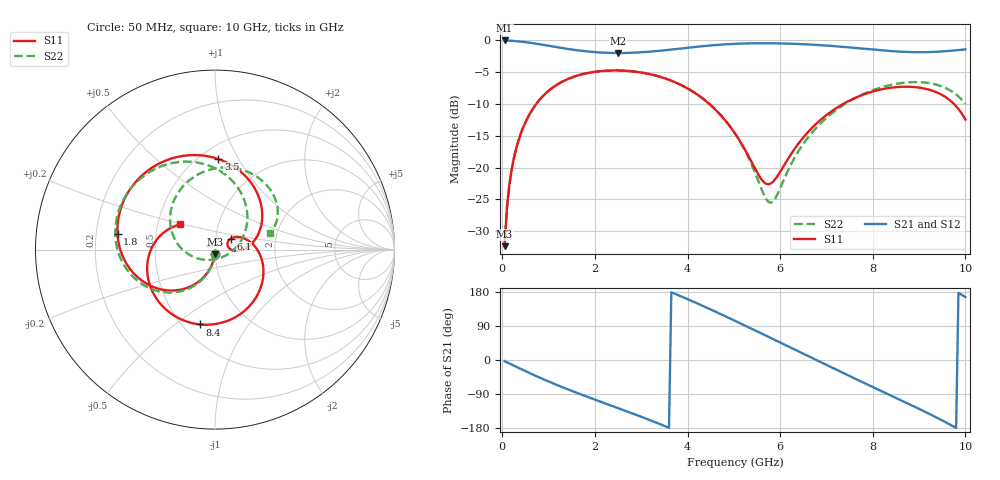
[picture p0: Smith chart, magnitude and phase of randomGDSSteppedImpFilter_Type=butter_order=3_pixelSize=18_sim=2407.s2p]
! freq	dB(S11)	phase(S11)	dB(S12)	phase(S12)
!  dB(S21)	phase(S21)	dB(S22)	phase(S22)
!S-par simulation data
#  GHz  S  DB  R 50
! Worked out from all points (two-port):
!   200 points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, 50 MHz to 10 GHz, reference 50 ohm
!   highest |S21| = -0.01 dB at 50 MHz (marker M1); lowest = -2.0 dB at 2.5 GHz (marker M2)
!   |S21| within 3 dB of the highest: start of sweep to end of sweep
!   lowest |S11| = -32.4 dB at 50 MHz (marker M3), VSWR 1.05, Z = 49.8 - j2.4 ohm
!   |S11| at or under -10 dB: start of sweep to 733 MHz; 4.471 GHz to 7.359 GHz (2.888 GHz wide, 48.8 % of centre); 9.754 GHz to end of sweep
!   |S22| runs from -32.4 to -4.7 dB; largest |S21 - S12| = 0
!   S11 on the Smith chart (normalised r, x): 50 MHz: 1.00, -0.05; 1.8 GHz: 0.29, +0.07; 3.5 GHz: 0.61, +0.83; 6.1 GHz: 1.18, +0.14; 8.4 GHz: 0.61, -0.62; 10 GHz: 0.65, +0.20
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0.05  -32.36 -93.1  -0.01 -3.0  -0.01 -3.0  -32.36 -93.0
0.1  -26.36 -96.4  -0.02 -6.0  -0.02 -6.0  -26.36 -96.1
0.2  -20.42 -102.7  -0.06 -12.0  -0.06 -12.0  -20.42 -102.1
0.5  -12.88 -120.7  -0.27 -29.4  -0.27 -29.4  -12.88 -119.2
1.1  -7.36 -154.1  -0.96 -61.9  -0.96 -61.9  -7.36 -150.5
1.75  -5.27 173.2  -1.66 -93.2  -1.66 -93.2  -5.28 179.4
1.8  -5.19 170.8  -1.70 -95.5  -1.70 -95.5  -5.19 177.2
2.5  -4.72 137.7  -1.98 -127.0  -1.98 -127.0  -4.72 147.6
3.4  -5.71 93.1  -1.63 -168.8  -1.63 -168.8  -5.70 109.2
3.5  -5.94 87.9  -1.56 -173.8  -1.56 -173.8  -5.93 104.7
4.25  -8.72 46.4  -0.96 147.2  -0.96 147.2  -8.69 69.7
5.05  -14.90 4.0  -0.53 101.9  -0.53 101.9  -14.91 26.5
5.75  -22.63 17.8  -0.45 61.0  -0.45 61.0  -25.42 -64.1
6.1  -19.46 34.6  -0.49 40.3  -0.49 40.3  -21.57 -137.5
6.7  -13.66 10.0  -0.67 4.8  -0.67 4.8  -14.39 177.0
7.15  -10.95 -19.0  -0.89 -21.8  -0.89 -21.8  -11.28 154.1
7.6  -9.11 -49.0  -1.18 -48.2  -1.18 -48.2  -9.14 132.2
8.35  -7.48 -97.9  -1.65 -91.5  -1.65 -91.5  -7.06 95.4
8.4  -7.43 -101.1  -1.68 -94.3  -1.68 -94.3  -6.98 92.9
8.85  -7.31 -129.9  -1.84 -120.2  -1.84 -120.2  -6.56 70.6
9.3  -7.94 -159.8  -1.82 -147.0  -1.82 -147.0  -6.83 48.2
10  -12.45 143.9  -1.41 166.2  -1.41 166.2  -9.97 16.5
